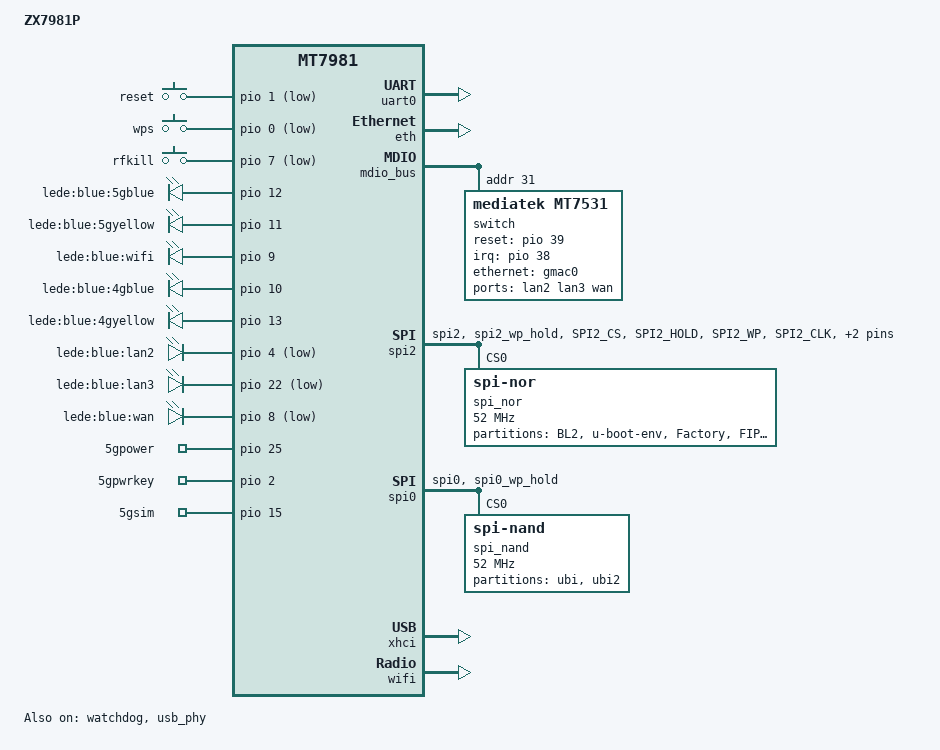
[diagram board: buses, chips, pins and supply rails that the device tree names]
/dts-v1/;

#include "mt7981b.dtsi"

/ {
	model = "ZX7981P";
	compatible = "ZX7981P", "mediatek,mt7981";

	aliases {
		label-mac-device = &wan;
		serial0 = &uart0;
	};

	chosen {
		stdout-path = "serial0:115200n8";
	};

	gpio-keys {
		compatible = "gpio-keys";
		#address-cells = <1>;
		#size-cells = <0>;
		poll-interval = <20>;

		reset {
			label = "reset";
			gpios = <&pio 1 1>;
			linux,code = <KEY_RESTART>;
		};

		wps {
			label = "wps";
			gpios = <&pio 0 1>;
			linux,code = <KEY_WPS_BUTTON>;
		};

		rfkill {
			label = "rfkill";
			gpios = <&pio 7 1>;
			linux,code = <KEY_RFKILL>;
		};
	};

	gpio-leds {
		compatible = "gpio-leds";

		5gblue {
			label = "lede:blue:5gblue";
			gpios = <&pio 12 0>;
			linux,default-trigger = "none";
			default-state = "off";
		};

		5gyellow {
			label = "lede:blue:5gyellow";
			gpios = <&pio 11 0>;
			linux,default-trigger = "none";
			default-state = "off";
		};

		wifi {
			label = "lede:blue:wifi";
			gpios = <&pio 9 0>;
			linux,default-trigger = "none";
			default-state = "off";
		};

		4gblue {
			label = "lede:blue:4gblue";
			gpios = <&pio 10 0>;
			linux,default-trigger = "none";
			default-state = "off";
		};

		4gyellow {
			label = "lede:blue:4gyellow";
			gpios = <&pio 13 0>;
			linux,default-trigger = "none";
			default-state = "off";
		};

		lan2 {
			label = "lede:blue:lan2";
			gpios = <&pio 4 1>;
			linux,default-trigger = "none";
			default-state = "off";
		};

		lan3 {
			label = "lede:blue:lan3";
			gpios = <&pio 22 1>;
			linux,default-trigger = "none";
			default-state = "off";
		};

		wan {
			label = "lede:blue:wan";
			gpios = <&pio 8 1>;
			linux,default-trigger = "none";
			default-state = "off";
		};
	};

	gpio-export {
		compatible = "gpio-export";
		5gpower {
			gpio-export,name = "5gpower";
			gpio-export,output = <0>; // OUT_INIT_LOW
			gpios = <&pio 25 0>;    // GPIO 25, ACTIVE_LOW
		};

		5gpwrkey {
			gpio-export,name = "5gpwrkey";
			gpio-export,output = <0>; // OUT_INIT_LOW
			gpios = <&pio 2 0>;    // GPIO 2, ACTIVE_LOW
		};

		5gsim {
			gpio-export,name = "5gsim";
			gpio-export,output = <1>; // OUT_INIT_LOW
			gpios = <&pio 15 0>;    // GPIO 15, ACTIVE_LOW
		};

	};
};

&uart0 {
	status = "okay";
};

&watchdog {
	status = "okay";
};

&eth {
	status = "okay";

	gmac0: mac@0 {
		compatible = "mediatek,eth-mac";
		reg = <0>;
		phy-mode = "2500base-x";

		nvmem-cell-names = "mac-address";
		nvmem-cells = <&macaddr_factory_4 (-1)>;

		fixed-link {
			speed = <2500>;
			full-duplex;
			pause;
		};
	};
};

&mdio_bus {
	switch: switch@1f {
		compatible = "mediatek,mt7531";
		reg = <0x1f>;
		reset-gpios = <&pio 39 GPIO_ACTIVE_HIGH>;
		interrupt-controller;
		#interrupt-cells = <1>;
		interrupt-parent = <&pio>;
		interrupts = <38 IRQ_TYPE_LEVEL_HIGH>;
	};
};

&switch {
	ports {
		#address-cells = <1>;
		#size-cells = <0>;

		port@1 {
			reg = <1>;
			label = "lan2";
		};

		port@2 {
			reg = <2>;
			label = "lan3";
		};

		wan: port@3 {
			reg = <3>;
			label = "wan";
		};

		port@6 {
			reg = <6>;
			ethernet = <&gmac0>;
			phy-mode = "2500base-x";

			fixed-link {
				speed = <2500>;
				full-duplex;
				pause;
			};
		};
	};
};


&spi2 {
	pinctrl-names = "default";
	pinctrl-0 = <&spi2_flash_pins>;
	status = "okay";
	spi_nor@0 {
		#address-cells = <1>;
		#size-cells = <1>;
		compatible = "jedec,spi-nor";
		spi-cal-enable;
		spi-cal-mode = "read-data";
		spi-cal-datalen = <7>;
		spi-cal-data = /bits/ 8 <
			0x53 0x46 0x5F 0x42 0x4F 0x4F 0x54>; /* SF_BOOT */
		spi-cal-addrlen = <1>;
		spi-cal-addr = /bits/ 32 <0x0>;
		reg = <0>;
		spi-max-frequency = <52000000>;
		spi-tx-bus-width = <4>;
		spi-rx-bus-width = <4>;

		partition@00000 {
			label = "BL2";
			reg = <0x00000 0x0040000>;
		};
		partition@40000 {
			label = "u-boot-env";
			reg = <0x40000 0x0010000>;
		};
		partition@50000 {
			label = "Factory";
			reg = <0x50000 0x00B0000>;

			nvmem-layout {
				compatible = "fixed-layout";
				#address-cells = <1>;
				#size-cells = <1>;

				eeprom_factory_0: eeprom@0 {
					reg = <0x0 0x1000>;
				};

				macaddr_factory_4: macaddr@4 {
					compatible = "mac-base";
					reg = <0x4 0x6>;
					#nvmem-cell-cells = <1>;
				};
			};
		};
		partition@100000 {
			label = "FIP";
			reg = <0x100000 0x0200000>;
		};
		partition@300000 {
			label = "woem";
			reg = <0x300000 0x10000>;
		};
		partition@310000 {
			label = "wtinfo";
			reg = <0x310000 0x10000>;
		};
		partition@320000 {
			label = "nvram";
			reg = <0x320000 0x10000>;
		};
	};
};

&spi0 {
	pinctrl-names = "default";
	pinctrl-0 = <&spi0_flash_pins>;
	status = "okay";

	spi_nand: flash@0 {
		#address-cells = <1>;
		#size-cells = <1>;
		compatible = "spi-nand";
		reg = <0>;
		spi-max-frequency = <52000000>;
		spi-tx-bus-width = <4>;
		spi-rx-bus-width = <4>;

		mediatek,nmbm;
		mediatek,bmt-max-ratio = <1>;
		mediatek,bmt-max-reserved-blocks = <64>;

		partitions {
			compatible = "fixed-partitions";
			#address-cells = <1>;
			#size-cells = <1>;

			partition@0 {
				label = "ubi";
				reg = <0x00000 0x3800000>;
			};

			partition@4000000 {
				label = "ubi2";
				reg = <0x3800000 0x3800000>;
			};
		};
	};
};

&pio {
	spi2_flash_pins: spi2-pins {
		mux {
			function = "spi";
			groups = "spi2", "spi2_wp_hold";
		};

		conf-pu {
			pins = "SPI2_CS", "SPI2_HOLD", "SPI2_WP";
			drive-strength = <MTK_DRIVE_8mA>;
			bias-pull-up = <MTK_PUPD_SET_R1R0_11>;
		};

		conf-pd {
			pins = "SPI2_CLK", "SPI2_MOSI", "SPI2_MISO";
			drive-strength = <MTK_DRIVE_8mA>;
			bias-pull-down = <MTK_PUPD_SET_R1R0_11>;
		};
	};

	spi0_flash_pins: spi0-pins {
		mux {
			function = "spi";
			groups = "spi0", "spi0_wp_hold";
		};
	};
};

&usb_phy {
	status = "okay";
};

&xhci {
	status = "okay";
};

&watchdog {
	status = "okay";
};

&wifi {
	nvmem-cells = <&eeprom_factory_0>;
	nvmem-cell-names = "eeprom";

	status = "okay";
};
